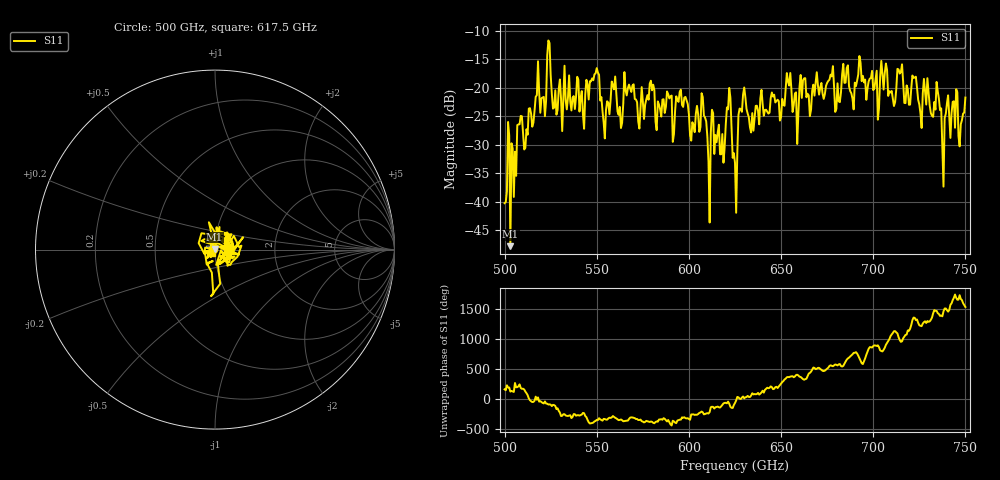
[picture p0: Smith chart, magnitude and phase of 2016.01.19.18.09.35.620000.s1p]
!Created with skrf (http://scikit-rf.org).
# GHz S RI R 50.0
!freq ReS11 ImS11
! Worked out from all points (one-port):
!   401 points, 500 GHz to 750 GHz, reference 50 ohm
!   lowest |S11| = -47.8 dB at 503.1 GHz (marker M1), VSWR 1.01, Z = 49.8 + j0.344 ohm
!   |S11| at or under -10 dB: start of sweep to end of sweep
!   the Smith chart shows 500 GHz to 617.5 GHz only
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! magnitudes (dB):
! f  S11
! 500 GHz  -40.3
! 503.1 GHz  -47.8
! 521.2 GHz  -21.6
! 523.8 GHz  -11.7
! 527.5 GHz  -20.4
! 531.2 GHz  -27.6
! 541.9 GHz  -20.6
! 550 GHz  -16.5
! 553.1 GHz  -24.1
! 559.4 GHz  -20.3
! 562.5 GHz  -23.4
! 566.2 GHz  -21.3
! 593.8 GHz  -22.2
! 601.9 GHz  -26.0
! 608.1 GHz  -24.9
! 610.6 GHz  -33.0
! 618.1 GHz  -28.1
! 621.9 GHz  -20.0
! 625 GHz  -33.2
! 629.4 GHz  -21.2
! 656.2 GHz  -24.2
! 687.5 GHz  -20.6
! 710.6 GHz  -21.8
! 714.4 GHz  -17.5
! 718.8 GHz  -20.2
! 735.6 GHz  -21.9
! 738.1 GHz  -37.4
! 750 GHz  -21.7
